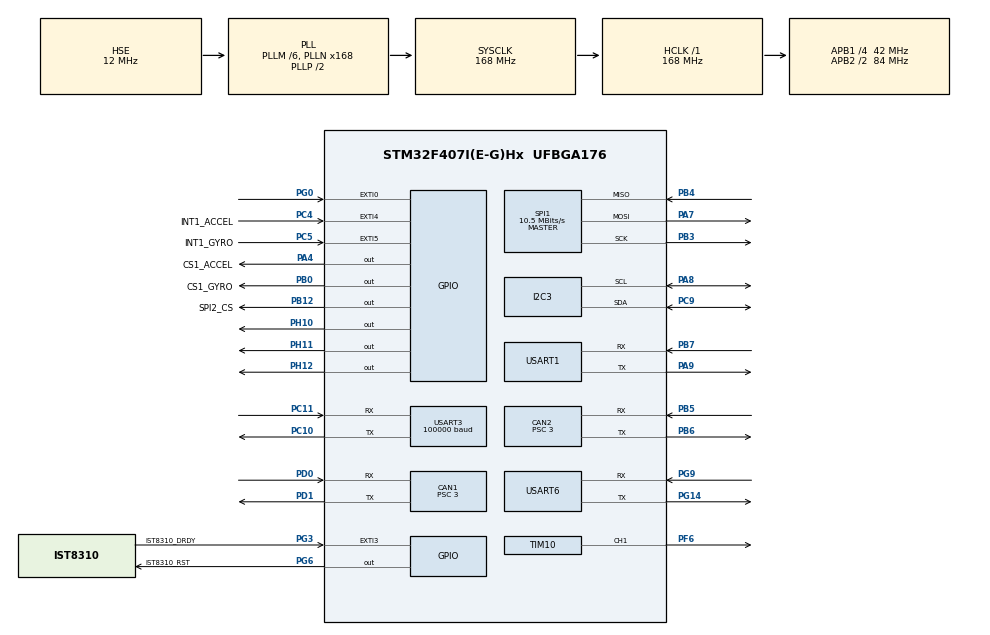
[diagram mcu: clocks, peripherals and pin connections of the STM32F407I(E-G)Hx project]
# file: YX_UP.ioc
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CAN1.BS1=CAN_BS1_10TQ
CAN1.BS2=CAN_BS2_3TQ
CAN1.CalculateBaudRate=1000000
CAN1.CalculateTimeBit=1000
CAN1.CalculateTimeQuantum=71.42857142857143
CAN1.Prescaler=3
CAN2.BS1=CAN_BS1_10TQ
CAN2.BS2=CAN_BS2_3TQ
CAN2.CalculateBaudRate=1000000
CAN2.CalculateTimeBit=1000
CAN2.CalculateTimeQuantum=71.42857142857143
CAN2.Prescaler=3
Dma.Request0=USART1_RX
Dma.Request1=USART1_TX
Dma.Request2=USART3_RX
Dma.Request3=USART3_TX
Dma.Request4=USART6_RX
Dma.Request5=USART6_TX
Dma.Request6=SPI1_RX
Dma.Request7=SPI1_TX
Dma.SPI1_RX.6.Direction=DMA_PERIPH_TO_MEMORY
Dma.SPI1_RX.6.FIFOMode=DMA_FIFOMODE_DISABLE
Dma.SPI1_RX.6.Instance=DMA2_Stream2
Dma.SPI1_RX.6.MemDataAlignment=DMA_MDATAALIGN_BYTE
Dma.SPI1_RX.6.MemInc=DMA_MINC_ENABLE
Dma.SPI1_RX.6.Mode=DMA_NORMAL
Dma.SPI1_RX.6.PeriphDataAlignment=DMA_PDATAALIGN_BYTE
Dma.SPI1_RX.6.PeriphInc=DMA_PINC_DISABLE
Dma.SPI1_RX.6.Priority=DMA_PRIORITY_VERY_HIGH
Dma.SPI1_TX.7.Direction=DMA_MEMORY_TO_PERIPH
Dma.SPI1_TX.7.FIFOMode=DMA_FIFOMODE_DISABLE
Dma.SPI1_TX.7.Instance=DMA2_Stream3
Dma.SPI1_TX.7.MemDataAlignment=DMA_MDATAALIGN_BYTE
Dma.SPI1_TX.7.MemInc=DMA_MINC_ENABLE
Dma.SPI1_TX.7.Mode=DMA_NORMAL
Dma.SPI1_TX.7.PeriphDataAlignment=DMA_PDATAALIGN_BYTE
Dma.SPI1_TX.7.PeriphInc=DMA_PINC_DISABLE
Dma.SPI1_TX.7.Priority=DMA_PRIORITY_HIGH
Dma.USART1_RX.0.Direction=DMA_PERIPH_TO_MEMORY
Dma.USART1_RX.0.FIFOMode=DMA_FIFOMODE_DISABLE
Dma.USART1_RX.0.Instance=DMA2_Stream5
Dma.USART1_RX.0.MemDataAlignment=DMA_MDATAALIGN_BYTE
Dma.USART1_RX.0.MemInc=DMA_MINC_ENABLE
Dma.USART1_RX.0.Mode=DMA_CIRCULAR
Dma.USART1_RX.0.PeriphDataAlignment=DMA_PDATAALIGN_BYTE
Dma.USART1_RX.0.PeriphInc=DMA_PINC_DISABLE
Dma.USART1_RX.0.Priority=DMA_PRIORITY_LOW
Dma.USART1_TX.1.Direction=DMA_MEMORY_TO_PERIPH
Dma.USART1_TX.1.FIFOMode=DMA_FIFOMODE_DISABLE
Dma.USART1_TX.1.Instance=DMA2_Stream7
Dma.USART1_TX.1.MemDataAlignment=DMA_MDATAALIGN_BYTE
Dma.USART1_TX.1.MemInc=DMA_MINC_ENABLE
Dma.USART1_TX.1.Mode=DMA_NORMAL
Dma.USART1_TX.1.PeriphDataAlignment=DMA_PDATAALIGN_BYTE
Dma.USART1_TX.1.PeriphInc=DMA_PINC_DISABLE
Dma.USART1_TX.1.Priority=DMA_PRIORITY_LOW
Dma.USART3_RX.2.Direction=DMA_PERIPH_TO_MEMORY
Dma.USART3_RX.2.FIFOMode=DMA_FIFOMODE_DISABLE
Dma.USART3_RX.2.Instance=DMA1_Stream1
Dma.USART3_RX.2.MemDataAlignment=DMA_MDATAALIGN_BYTE
Dma.USART3_RX.2.MemInc=DMA_MINC_ENABLE
Dma.USART3_RX.2.Mode=DMA_CIRCULAR
Dma.USART3_RX.2.PeriphDataAlignment=DMA_PDATAALIGN_BYTE
Dma.USART3_RX.2.PeriphInc=DMA_PINC_DISABLE
Dma.USART3_RX.2.Priority=DMA_PRIORITY_VERY_HIGH
Dma.USART3_TX.3.Direction=DMA_MEMORY_TO_PERIPH
Dma.USART3_TX.3.FIFOMode=DMA_FIFOMODE_DISABLE
Dma.USART3_TX.3.Instance=DMA1_Stream3
Dma.USART3_TX.3.MemDataAlignment=DMA_MDATAALIGN_BYTE
Dma.USART3_TX.3.MemInc=DMA_MINC_ENABLE
Dma.USART3_TX.3.Mode=DMA_NORMAL
Dma.USART3_TX.3.PeriphDataAlignment=DMA_PDATAALIGN_BYTE
Dma.USART3_TX.3.PeriphInc=DMA_PINC_DISABLE
Dma.USART3_TX.3.Priority=DMA_PRIORITY_LOW
Dma.USART6_RX.4.Direction=DMA_PERIPH_TO_MEMORY
Dma.USART6_RX.4.FIFOMode=DMA_FIFOMODE_DISABLE
Dma.USART6_RX.4.Instance=DMA2_Stream1
Dma.USART6_RX.4.MemDataAlignment=DMA_MDATAALIGN_BYTE
Dma.USART6_RX.4.MemInc=DMA_MINC_ENABLE
Dma.USART6_RX.4.Mode=DMA_CIRCULAR
Dma.USART6_RX.4.PeriphDataAlignment=DMA_PDATAALIGN_BYTE
Dma.USART6_RX.4.PeriphInc=DMA_PINC_DISABLE
Dma.USART6_RX.4.Priority=DMA_PRIORITY_LOW
Dma.USART6_TX.5.Direction=DMA_MEMORY_TO_PERIPH
Dma.USART6_TX.5.FIFOMode=DMA_FIFOMODE_DISABLE
Dma.USART6_TX.5.Instance=DMA2_Stream6
Dma.USART6_TX.5.MemDataAlignment=DMA_MDATAALIGN_BYTE
Dma.USART6_TX.5.MemInc=DMA_MINC_ENABLE
Dma.USART6_TX.5.Mode=DMA_NORMAL
Dma.USART6_TX.5.PeriphDataAlignment=DMA_PDATAALIGN_BYTE
Dma.USART6_TX.5.PeriphInc=DMA_PINC_DISABLE
Dma.USART6_TX.5.Priority=DMA_PRIORITY_LOW
FREERTOS.INCLUDE_uxTaskGetStackHighWaterMark=1
FREERTOS.Tasks01=defaultTask,0,128,StartDefaultTask,Default,NULL,Dynamic,NULL,NULL;myTask02,-3,128,StartTask02,Default,NULL,Dynamic,NULL,NULL;myTask03,-3,128,StartTask03,Default,NULL,Dynamic,NULL,NULL;myTask04,-3,128,StartTask04,Default,NULL,Dynamic,NULL,NULL;myTask05,-3,128,StartTask05,Default,NULL,Dynamic,NULL,NULL;myTask06,-3,128,StartTask06,Default,NULL,Dynamic,NULL,NULL;myTask07,-3,128,StartTask07,Default,NULL,Dynamic,NULL,NULL;myTask08,-3,128,StartTask08,Default,NULL,Dynamic,NULL,NULL;myTask09,3,128,StartTask09,Default,NULL,Dynamic,NULL,NULL
I2C3.I2C_Mode=I2C_Fast
Mcu.Family=STM32F4
Mcu.Name=STM32F407I(E-G)Hx
Mcu.Package=UFBGA176
NVIC.CAN1_RX0_IRQn=true\:7\:0\:true\:false\:true\:true\:true\:true\:true
NVIC.CAN2_RX0_IRQn=true\:7\:0\:true\:false\:true\:true\:true\:true\:true
NVIC.CAN2_TX_IRQn=true\:7\:0\:true\:false\:true\:true\:true\:true\:true
NVIC.DMA1_Stream1_IRQn=true\:5\:0\:false\:false\:true\:true\:false\:true\:true
NVIC.DMA1_Stream3_IRQn=true\:5\:0\:false\:false\:true\:true\:false\:true\:true
NVIC.DMA2_Stream1_IRQn=true\:5\:0\:false\:false\:true\:true\:false\:true\:true
NVIC.DMA2_Stream2_IRQn=true\:5\:0\:false\:false\:true\:true\:false\:true\:true
NVIC.DMA2_Stream3_IRQn=true\:5\:0\:false\:false\:true\:true\:false\:true\:true
NVIC.DMA2_Stream5_IRQn=true\:5\:0\:false\:false\:true\:true\:false\:true\:true
NVIC.DMA2_Stream6_IRQn=true\:5\:0\:false\:false\:true\:true\:false\:true\:true
NVIC.DMA2_Stream7_IRQn=true\:5\:0\:false\:false\:true\:true\:false\:true\:true
NVIC.EXTI0_IRQn=true\:5\:0\:true\:false\:true\:true\:true\:true\:true
NVIC.EXTI3_IRQn=true\:5\:0\:false\:false\:true\:true\:true\:true\:true
NVIC.EXTI4_IRQn=true\:5\:0\:false\:false\:true\:true\:true\:true\:true
NVIC.EXTI9_5_IRQn=true\:5\:0\:false\:false\:true\:true\:true\:true\:true
NVIC.PriorityGroup=NVIC_PRIORITYGROUP_4
NVIC.SPI1_IRQn=true\:5\:0\:false\:false\:true\:true\:true\:true\:true
NVIC.TIM1_BRK_TIM9_IRQn=true\:5\:0\:false\:false\:true\:true\:true\:true\:true
NVIC.TIM1_UP_TIM10_IRQn=true\:5\:0\:false\:false\:true\:true\:true\:true\:true
NVIC.TIM2_IRQn=true\:5\:0\:false\:false\:true\:true\:true\:true\:true
NVIC.TIM3_IRQn=true\:15\:0\:false\:false\:true\:false\:false\:true\:true
NVIC.TIM8_BRK_TIM12_IRQn=true\:5\:0\:false\:false\:true\:true\:true\:true\:true
NVIC.TIM8_UP_TIM13_IRQn=true\:5\:0\:false\:false\:true\:true\:true\:true\:true
NVIC.TimeBase=TIM3_IRQn
NVIC.TimeBaseIP=TIM3
NVIC.USART1_IRQn=true\:5\:0\:false\:false\:true\:true\:true\:true\:true
NVIC.USART3_IRQn=true\:5\:0\:false\:false\:true\:true\:true\:true\:true
NVIC.USART6_IRQn=true\:5\:0\:false\:false\:true\:true\:true\:true\:true
PA13.Mode=Serial_Wire
PA13.Signal=SYS_JTMS-SWDIO
PA14.Mode=Serial_Wire
PA14.Signal=SYS_JTCK-SWCLK
PA4.GPIO_Label=CS1_ACCEL
PA4.GPIO_PuPd=GPIO_PULLUP
PA4.GPIO_Speed=GPIO_SPEED_FREQ_HIGH
PA4.PinState=GPIO_PIN_SET
PA4.Signal=GPIO_Output
PA7.GPIO_PuPd=GPIO_PULLUP
PA7.Mode=Full_Duplex_Master
PA7.Signal=SPI1_MOSI
PA8.Mode=I2C
PA8.Signal=I2C3_SCL
PA9.Mode=Asynchronous
PA9.Signal=USART1_TX
PB0.GPIO_Label=CS1_GYRO
PB0.GPIO_PuPd=GPIO_PULLUP
PB0.GPIO_Speed=GPIO_SPEED_FREQ_HIGH
PB0.PinState=GPIO_PIN_SET
PB0.Signal=GPIO_Output
PB12.GPIO_Label=SPI2_CS
PB12.GPIO_PuPd=GPIO_PULLUP
PB12.GPIO_Speed=GPIO_SPEED_FREQ_MEDIUM
PB12.PinState=GPIO_PIN_SET
PB12.Signal=GPIO_Output
PB3.GPIO_PuPd=GPIO_PULLUP
PB3.Mode=Full_Duplex_Master
PB3.Signal=SPI1_SCK
PB4.GPIO_PuPd=GPIO_PULLUP
PB4.Mode=Full_Duplex_Master
PB4.Signal=SPI1_MISO
PB5.Mode=CAN_Activate
PB5.Signal=CAN2_RX
PB6.Mode=CAN_Activate
PB6.Signal=CAN2_TX
PB7.Mode=Asynchronous
PB7.Signal=USART1_RX
PC10.Mode=Asynchronous
PC10.Signal=USART3_TX
PC11.Mode=Asynchronous
PC11.Signal=USART3_RX
PC4.GPIO_Label=INT1_ACCEL
PC4.GPIO_ModeDefaultEXTI=GPIO_MODE_IT_FALLING
PC4.GPIO_PuPd=GPIO_PULLUP
PC4.Signal=GPXTI4
PC5.GPIO_Label=INT1_GYRO
PC5.GPIO_ModeDefaultEXTI=GPIO_MODE_IT_FALLING
PC5.GPIO_PuPd=GPIO_PULLUP
PC5.Signal=GPXTI5
PC9.Mode=I2C
PC9.Signal=I2C3_SDA
PD0.Mode=CAN_Activate
PD0.Signal=CAN1_RX
PD1.Mode=CAN_Activate
PD1.Signal=CAN1_TX
PF6.GPIO_PuPd=GPIO_PULLUP
PF6.GPIO_Speed=GPIO_SPEED_FREQ_HIGH
PF6.Signal=S_TIM10_CH1
PG0.GPIO_PuPd=GPIO_PULLUP
PG0.Signal=GPXTI0
PG14.Mode=Asynchronous
PG14.Signal=USART6_TX
PG3.GPIO_Label=IST8310_DRDY
PG3.GPIO_PuPd=GPIO_PULLUP
PG3.Signal=GPXTI3
PG6.GPIO_Label=IST8310_RST
PG6.GPIO_PuPd=GPIO_PULLUP
PG6.GPIO_Speed=GPIO_SPEED_FREQ_MEDIUM
PG6.PinState=GPIO_PIN_SET
PG6.Signal=GPIO_Output
PG9.Mode=Asynchronous
PG9.Signal=USART6_RX
PH0-OSC_IN.Mode=HSE-External-Oscillator
PH0-OSC_IN.Signal=RCC_OSC_IN
PH1-OSC_OUT.Mode=HSE-External-Oscillator
PH1-OSC_OUT.Signal=RCC_OSC_OUT
PH10.GPIO_PuPd=GPIO_PULLUP
PH10.Signal=GPIO_Output
PH11.GPIO_PuPd=GPIO_PULLUP
PH11.Signal=GPIO_Output
PH12.GPIO_PuPd=GPIO_PULLUP
PH12.Signal=GPIO_Output
ProjectManager.HeapSize=0x200
ProjectManager.StackSize=0x400
ProjectManager.TargetToolchain=MDK-ARM V5.32
RCC.48MHZClocksFreq_Value=84000000
RCC.AHBFreq_Value=168000000
RCC.APB1CLKDivider=RCC_HCLK_DIV4
RCC.APB1Freq_Value=42000000
RCC.APB1TimFreq_Value=84000000
RCC.APB2CLKDivider=RCC_HCLK_DIV2
RCC.APB2Freq_Value=84000000
RCC.APB2TimFreq_Value=168000000
RCC.CortexFreq_Value=168000000
RCC.HCLKFreq_Value=168000000
RCC.HSE_VALUE=12000000
RCC.HSI_VALUE=16000000
RCC.LSE_VALUE=32768
RCC.PLLM=6
RCC.PLLN=168
RCC.PLLSourceVirtual=RCC_PLLSOURCE_HSE
RCC.SYSCLKFreq_VALUE=168000000
RCC.SYSCLKSource=RCC_SYSCLKSOURCE_PLLCLK
RCC.VCOOutputFreq_Value=336000000
SH.S_TIM10_CH1.0=TIM10_CH1,PWM Generation1 CH1
SPI1.BaudRatePrescaler=SPI_BAUDRATEPRESCALER_8
SPI1.CLKPhase=SPI_PHASE_2EDGE
SPI1.CLKPolarity=SPI_POLARITY_HIGH
SPI1.CalculateBaudRate=10.5 MBits/s
SPI1.DataSize=SPI_DATASIZE_8BIT
SPI1.Direction=SPI_DIRECTION_2LINES
SPI1.Mode=SPI_MODE_MASTER
SPI1.VirtualType=VM_MASTER
TIM1.Period=100-1
TIM1.Prescaler=16800-1
TIM10.Channel=TIM_CHANNEL_1
TIM10.Period=65535
TIM2.Period=100-1
TIM2.Prescaler=8400
TIM8.Period=100-1
TIM8.Prescaler=16800-1
TIM9.Period=100-1
TIM9.Prescaler=16800-1
USART1.VirtualMode=VM_ASYNC
USART3.BaudRate=100000
USART3.VirtualMode=VM_ASYNC
USART6.VirtualMode=VM_ASYNC
VP_FREERTOS_VS_CMSIS_V1.Mode=CMSIS_V1
VP_SYS_VS_tim3.Mode=TIM3
VP_TIM10_VS_ClockSourceINT.Mode=Enable_Timer
VP_TIM1_VS_ClockSourceINT.Mode=Internal
VP_TIM2_VS_ClockSourceINT.Mode=Internal
VP_TIM8_VS_ClockSourceINT.Mode=Internal
VP_TIM9_VS_ClockSourceINT.Mode=Internal
board=custom

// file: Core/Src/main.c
/* USER CODE BEGIN Header */
/**
  ******************************************************************************
  * @file           : main.c
  * @brief          : Main program body
  ******************************************************************************
  * @attention
  *
  * Copyright (c) 2022 STMicroelectronics.
  * All rights reserved.
  *
  * This software is licensed under terms that can be found in the LICENSE file
  * in the root directory of this software component.
  * If no LICENSE file comes with this software, it is provided AS-IS.
  *
  ******************************************************************************
  */
/* USER CODE END Header */
#include "main.h"
#include "cmsis_os.h"
#include "can.h"
#include "dma.h"
#include "i2c.h"
#include "spi.h"
#include "tim.h"
#include "usart.h"
#include "gpio.h"

/* USER CODE BEGIN Includes */
#include "remote_control.h"
#include "Can_user.h"
#include "bsp_delay.h"
/* USER CODE END Includes */

void SystemClock_Config(void);
void MX_FREERTOS_Init(void);

int main(void)
{

  /* MCU Configuration--------------------------------------------------------*/

  /* Reset of all peripherals, Initializes the Flash interface and the Systick. */
  HAL_Init();

  /* Configure the system clock */
  SystemClock_Config();

  /* Initialize all configured peripherals */
  MX_GPIO_Init();
  MX_DMA_Init();
  MX_CAN1_Init();
  MX_CAN2_Init();
  MX_I2C3_Init();
  MX_USART1_UART_Init();
  MX_USART3_UART_Init();
  MX_USART6_UART_Init();
  MX_TIM1_Init();
  MX_TIM2_Init();
  MX_TIM8_Init();
  MX_TIM9_Init();
  MX_SPI1_Init();
  MX_TIM10_Init();
  /* USER CODE BEGIN 2 */
//	HAL_GPIO_WritePin(GPIOH,GPIO_PIN_11,GPIO_PIN_SET);
	can_1_user_init(&hcan1);//配置can1的过滤器
	can_2_user_init(&hcan2);//配置can2的过滤器,过滤器bank不一样
	HAL_TIM_Base_Start_IT(&htim1);//开启定时器1并打开中断
	//HAL_NVIC_SetPriority(TIM2_IRQn, 1, 1);//修改TIM2中断优先级
	delay_init();//启动IMU
	HAL_TIM_PWM_Start(&htim10,TIM_CHANNEL_1);//BMI088需要使用
  /* USER CODE END 2 */

  /* Call init function for freertos objects (in freertos.c) */
  MX_FREERTOS_Init();

  /* Start scheduler */
  osKernelStart();

  /* We should never get here as control is now taken by the scheduler */
  /* Infinite loop */
  while (1)
  {

  }
}

void SystemClock_Config(void)
{
  RCC_OscInitTypeDef RCC_OscInitStruct = {0};
  RCC_ClkInitTypeDef RCC_ClkInitStruct = {0};

  /** Configure the main internal regulator output voltage
  */
  __HAL_RCC_PWR_CLK_ENABLE();
  __HAL_PWR_VOLTAGESCALING_CONFIG(PWR_REGULATOR_VOLTAGE_SCALE1);

  /** Initializes the RCC Oscillators according to the specified parameters
  * in the RCC_OscInitTypeDef structure.
  */
  RCC_OscInitStruct.OscillatorType = RCC_OSCILLATORTYPE_HSE;
  RCC_OscInitStruct.HSEState = RCC_HSE_ON;
  RCC_OscInitStruct.PLL.PLLState = RCC_PLL_ON;
  RCC_OscInitStruct.PLL.PLLSource = RCC_PLLSOURCE_HSE;
  RCC_OscInitStruct.PLL.PLLM = 6;
  RCC_OscInitStruct.PLL.PLLN = 168;
  RCC_OscInitStruct.PLL.PLLP = RCC_PLLP_DIV2;
  RCC_OscInitStruct.PLL.PLLQ = 4;
  if (HAL_RCC_OscConfig(&RCC_OscInitStruct) != HAL_OK)
  {
    Error_Handler();
  }

  /** Initializes the CPU, AHB and APB buses clocks
  */
  RCC_ClkInitStruct.ClockType = RCC_CLOCKTYPE_HCLK|RCC_CLOCKTYPE_SYSCLK
                              |RCC_CLOCKTYPE_PCLK1|RCC_CLOCKTYPE_PCLK2;
  RCC_ClkInitStruct.SYSCLKSource = RCC_SYSCLKSOURCE_PLLCLK;
  RCC_ClkInitStruct.AHBCLKDivider = RCC_SYSCLK_DIV1;
  RCC_ClkInitStruct.APB1CLKDivider = RCC_HCLK_DIV4;
  RCC_ClkInitStruct.APB2CLKDivider = RCC_HCLK_DIV2;

  if (HAL_RCC_ClockConfig(&RCC_ClkInitStruct, FLASH_LATENCY_5) != HAL_OK)
  {
    Error_Handler();
  }
}

void HAL_TIM_PeriodElapsedCallback(TIM_HandleTypeDef *htim)
{
  if (htim->Instance == TIM3) {
    HAL_IncTick();
  }
}

void Error_Handler(void)
{
  __disable_irq();
  while (1)
  {
  }
}

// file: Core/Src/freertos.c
/* USER CODE BEGIN Header */
/**
  ******************************************************************************
  * File Name          : freertos.c
  * Description        : Code for freertos applications
  ******************************************************************************
  * @attention
  *
  * Copyright (c) 2022 STMicroelectronics.
  * All rights reserved.
  *
  * This software is licensed under terms that can be found in the LICENSE file
  * in the root directory of this software component.
  * If no LICENSE file comes with this software, it is provided AS-IS.
  *
  ******************************************************************************
  */
/* USER CODE END Header */

#include "FreeRTOS.h"
#include "task.h"
#include "main.h"
#include "cmsis_os.h"

/* USER CODE BEGIN Includes */
#include "remote_control.h"
#include "PID.h"
#include "MX_FREERTOS_init.h"
#include "arm_math.h"
#include "INS_task.h"
#include "Yaw_task.h"
#include "can.h"
/* USER CODE END Includes */

 /* (MISRA C 2004 rule 8.1) */

/* GetIdleTaskMemory prototype (linked to static allocation support) */
void vApplicationGetIdleTaskMemory( StaticTask_t **ppxIdleTaskTCBBuffer, StackType_t **ppxIdleTaskStackBuffer, uint32_t *pulIdleTaskStackSize );

/* USER CODE BEGIN GET_IDLE_TASK_MEMORY */
static StaticTask_t xIdleTaskTCBBuffer;
static StackType_t xIdleStack[configMINIMAL_STACK_SIZE];

void vApplicationGetIdleTaskMemory( StaticTask_t **ppxIdleTaskTCBBuffer, StackType_t **ppxIdleTaskStackBuffer, uint32_t *pulIdleTaskStackSize )
{
  *ppxIdleTaskTCBBuffer = &xIdleTaskTCBBuffer;
  *ppxIdleTaskStackBuffer = &xIdleStack[0];
  *pulIdleTaskStackSize = configMINIMAL_STACK_SIZE;
  /* place for user code */
}
/* USER CODE END GET_IDLE_TASK_MEMORY */
